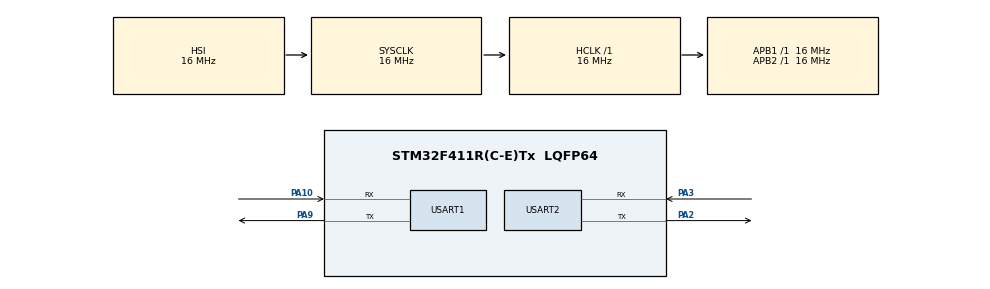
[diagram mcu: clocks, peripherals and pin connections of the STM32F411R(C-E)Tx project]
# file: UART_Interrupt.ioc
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Mcu.Family=STM32F4
Mcu.Name=STM32F411R(C-E)Tx
Mcu.Package=LQFP64
NVIC.PriorityGroup=NVIC_PRIORITYGROUP_4
NVIC.USART1_IRQn=true\:0\:0\:false\:false\:true\:true\:true\:true
PA10.Mode=Asynchronous
PA10.Signal=USART1_RX
PA2.Mode=Asynchronous
PA2.Signal=USART2_TX
PA3.Mode=Asynchronous
PA3.Signal=USART2_RX
PA9.Mode=Asynchronous
PA9.Signal=USART1_TX
ProjectManager.HeapSize=0x200
ProjectManager.StackSize=0x400
ProjectManager.TargetToolchain=STM32CubeIDE
RCC.AHBFreq_Value=16000000
RCC.APB1Freq_Value=16000000
RCC.APB2Freq_Value=16000000
RCC.CortexFreq_Value=16000000
RCC.HSE_VALUE=25000000
RCC.HSI_VALUE=16000000
RCC.LSE_VALUE=32768
RCC.SYSCLKFreq_VALUE=16000000
RCC.VCOOutputFreq_Value=192000000
USART1.VirtualMode=VM_ASYNC
USART2.VirtualMode=VM_ASYNC
board=custom

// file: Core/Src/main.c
/* USER CODE BEGIN Header */
/**
  ******************************************************************************
  * @file           : main.c
  * @brief          : Main program body
  ******************************************************************************
  * @attention
  *
  * Copyright (c) 2024 STMicroelectronics.
  * All rights reserved.
  *
  * This software is licensed under terms that can be found in the LICENSE file
  * in the root directory of this software component.
  * If no LICENSE file comes with this software, it is provided AS-IS.
  *
  ******************************************************************************
  */
/* USER CODE END Header */
#include "main.h"
#include "usart.h"
#include "gpio.h"

/* USER CODE BEGIN Includes */
#include "retarget.h"
#include <stdio.h>
#include <string.h>
/* USER CODE END Includes */

/* USER CODE BEGIN PV */
uint8_t buffer[100];
/* USER CODE END PV */

void SystemClock_Config(void);

/* USER CODE BEGIN 0 */

void HAL_UART_TxCpltCallback(UART_HandleTypeDef* huart){
	// Should be called from UART_EndTransmit_IT()
	if (huart->Instance == USART1) {
		// Called once Transmit is complete.
		// Useful for turning off any external drivers - i.e. RS-485
	}
}

void HAL_UARTEx_RxEventCallback(UART_HandleTypeDef* huart, uint16_t size)
{
	if (huart->Instance == USART1) {
		HAL_UART_RxEventTypeTypeDef EventType = HAL_UARTEx_GetRxEventType(huart);
		// This call back will also receive halt transfer events (HAL_UART_RXEVENT_HT).
		// Filter these requests out so the buffer is not printed twice.
		if ((EventType == HAL_UART_RXEVENT_IDLE) || (EventType == HAL_UART_RXEVENT_TC)) {
			printf("Received %hu byte(s): %.*s\r\n", size, size, buffer);
			HAL_UARTEx_ReceiveToIdle_IT(huart, buffer, sizeof(buffer));
		}
	}
}

void UARTSend(char *buffer)
{
	uint8_t len = strlen(buffer);

	// Enable Transmit Complete Interrupt, so HAL_UART_TxCpltCallback() works
	__HAL_UART_ENABLE_IT(&huart1, UART_IT_TC);

	if (HAL_UART_Transmit_IT(&huart1, (uint8_t*)buffer, len) == HAL_OK)
	{
		printf("Successfully sent %d bytes\r\n", len);
	} else {
		printf("Error sending %d bytes\r\n", len);
	}
}

/* USER CODE END 0 */

int main(void)
{

  /* MCU Configuration--------------------------------------------------------*/

  /* Reset of all peripherals, Initializes the Flash interface and the Systick. */
  HAL_Init();

  /* Configure the system clock */
  SystemClock_Config();

  /* Initialize all configured peripherals */
  MX_GPIO_Init();
  MX_USART2_UART_Init();
  MX_USART1_UART_Init();
  /* USER CODE BEGIN 2 */
  RetargetInit(&huart2);
  printf("UART Interrupt Example V1.0\r\n");
  /* USER CODE END 2 */

  /* Infinite loop */
  /* USER CODE BEGIN WHILE */

  HAL_UARTEx_ReceiveToIdle_IT(&huart1, buffer, sizeof(buffer));

  while (1)
  {
    /* USER CODE END WHILE */

    /* USER CODE BEGIN 3 */
	UARTSend("Hello World! via Interrupts\r\n");
	HAL_Delay(5000);
  }
  /* USER CODE END 3 */
}

void SystemClock_Config(void)
{
  RCC_OscInitTypeDef RCC_OscInitStruct = {0};
  RCC_ClkInitTypeDef RCC_ClkInitStruct = {0};

  /** Configure the main internal regulator output voltage
  */
  __HAL_RCC_PWR_CLK_ENABLE();
  __HAL_PWR_VOLTAGESCALING_CONFIG(PWR_REGULATOR_VOLTAGE_SCALE1);

  /** Initializes the RCC Oscillators according to the specified parameters
  * in the RCC_OscInitTypeDef structure.
  */
  RCC_OscInitStruct.OscillatorType = RCC_OSCILLATORTYPE_HSI;
  RCC_OscInitStruct.HSIState = RCC_HSI_ON;
  RCC_OscInitStruct.HSICalibrationValue = RCC_HSICALIBRATION_DEFAULT;
  RCC_OscInitStruct.PLL.PLLState = RCC_PLL_NONE;
  if (HAL_RCC_OscConfig(&RCC_OscInitStruct) != HAL_OK)
  {
    Error_Handler();
  }

  /** Initializes the CPU, AHB and APB buses clocks
  */
  RCC_ClkInitStruct.ClockType = RCC_CLOCKTYPE_HCLK|RCC_CLOCKTYPE_SYSCLK
                              |RCC_CLOCKTYPE_PCLK1|RCC_CLOCKTYPE_PCLK2;
  RCC_ClkInitStruct.SYSCLKSource = RCC_SYSCLKSOURCE_HSI;
  RCC_ClkInitStruct.AHBCLKDivider = RCC_SYSCLK_DIV1;
  RCC_ClkInitStruct.APB1CLKDivider = RCC_HCLK_DIV1;
  RCC_ClkInitStruct.APB2CLKDivider = RCC_HCLK_DIV1;

  if (HAL_RCC_ClockConfig(&RCC_ClkInitStruct, FLASH_LATENCY_0) != HAL_OK)
  {
    Error_Handler();
  }
}

void Error_Handler(void)
{
  __disable_irq();
  while (1)
  {
  }
}
